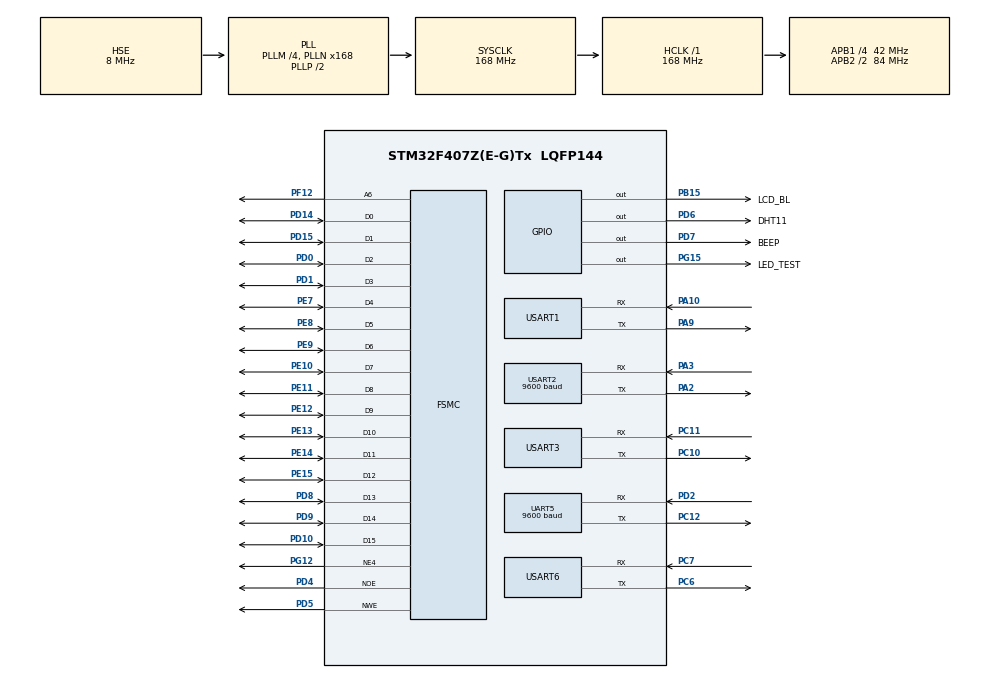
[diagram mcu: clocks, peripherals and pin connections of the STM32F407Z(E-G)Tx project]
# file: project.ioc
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FSMC.BusTurnAroundDuration1=0
FSMC.DataSetupTime1=60
FSMC.ExtendedAddressSetupTime1=8
FSMC.ExtendedBusTurnAroundDuration1=0
FSMC.ExtendedDataSetupTime1=8
FSMC.ExtendedMode1=FSMC_EXTENDED_MODE_ENABLE
Mcu.Family=STM32F4
Mcu.Name=STM32F407Z(E-G)Tx
Mcu.Package=LQFP144
NVIC.PriorityGroup=NVIC_PRIORITYGROUP_4
NVIC.UART5_IRQn=true\:0\:0\:false\:false\:true\:true\:true
NVIC.USART1_IRQn=true\:1\:0\:true\:false\:true\:true\:true
NVIC.USART2_IRQn=true\:2\:0\:true\:false\:true\:true\:true
NVIC.USART3_IRQn=true\:0\:0\:false\:false\:true\:true\:true
NVIC.USART6_IRQn=true\:1\:0\:true\:false\:true\:true\:true
PA10.Mode=Asynchronous
PA10.Signal=USART1_RX
PA13.Mode=Serial_Wire
PA13.Signal=SYS_JTMS-SWDIO
PA14.Mode=Serial_Wire
PA14.Signal=SYS_JTCK-SWCLK
PA2.Mode=Asynchronous
PA2.Signal=USART2_TX
PA3.Mode=Asynchronous
PA3.Signal=USART2_RX
PA9.Mode=Asynchronous
PA9.Signal=USART1_TX
PB15.GPIO_Label=LCD_BL
PB15.Signal=GPIO_Output
PC10.Mode=Asynchronous
PC10.Signal=USART3_TX
PC11.Mode=Asynchronous
PC11.Signal=USART3_RX
PC12.Mode=Asynchronous
PC12.Signal=UART5_TX
PC14-OSC32_IN.Mode=LSE-External-Oscillator
PC14-OSC32_IN.Signal=RCC_OSC32_IN
PC15-OSC32_OUT.Mode=LSE-External-Oscillator
PC15-OSC32_OUT.Signal=RCC_OSC32_OUT
PC6.Mode=Asynchronous
PC6.Signal=USART6_TX
PC7.Mode=Asynchronous
PC7.Signal=USART6_RX
PD0.Signal=FSMC_D2_DA2
PD1.Signal=FSMC_D3_DA3
PD10.Signal=FSMC_D15_DA15
PD14.Signal=FSMC_D0_DA0
PD15.Signal=FSMC_D1_DA1
PD2.Mode=Asynchronous
PD2.Signal=UART5_RX
PD4.Signal=FSMC_NOE
PD5.Signal=FSMC_NWE
PD6.GPIO_Label=DHT11
PD6.Signal=GPIO_Output
PD7.GPIO_Label=BEEP
PD7.PinState=GPIO_PIN_SET
PD7.Signal=GPIO_Output
PD8.Signal=FSMC_D13_DA13
PD9.Signal=FSMC_D14_DA14
PE10.Signal=FSMC_D7_DA7
PE11.Signal=FSMC_D8_DA8
PE12.Signal=FSMC_D9_DA9
PE13.Signal=FSMC_D10_DA10
PE14.Signal=FSMC_D11_DA11
PE15.Signal=FSMC_D12_DA12
PE7.Signal=FSMC_D4_DA4
PE8.Signal=FSMC_D5_DA5
PE9.Signal=FSMC_D6_DA6
PF12.Signal=FSMC_A6
PG12.Mode=NorPsramChipSelect4_1
PG12.Signal=FSMC_NE4
PG15.GPIO_Label=LED_TEST
PG15.GPIO_ModeDefaultOutputPP=GPIO_MODE_OUTPUT_PP
PG15.GPIO_PuPd=GPIO_NOPULL
PG15.GPIO_Speed=GPIO_SPEED_FREQ_LOW
PG15.PinState=GPIO_PIN_RESET
PG15.Signal=GPIO_Output
PH0-OSC_IN.Mode=HSE-External-Oscillator
PH0-OSC_IN.Signal=RCC_OSC_IN
PH1-OSC_OUT.Mode=HSE-External-Oscillator
PH1-OSC_OUT.Signal=RCC_OSC_OUT
ProjectManager.HeapSize=0x200
ProjectManager.StackSize=0x400
ProjectManager.TargetToolchain=MDK-ARM V5
RCC.48MHZClocksFreq_Value=84000000
RCC.AHBFreq_Value=168000000
RCC.APB1CLKDivider=RCC_HCLK_DIV4
RCC.APB1Freq_Value=42000000
RCC.APB1TimFreq_Value=84000000
RCC.APB2CLKDivider=RCC_HCLK_DIV2
RCC.APB2Freq_Value=84000000
RCC.APB2TimFreq_Value=168000000
RCC.CortexFreq_Value=168000000
RCC.HCLKFreq_Value=168000000
RCC.HSE_VALUE=8000000
RCC.HSI_VALUE=16000000
RCC.PLLM=4
RCC.PLLN=168
RCC.PLLSourceVirtual=RCC_PLLSOURCE_HSE
RCC.SYSCLKFreq_VALUE=168000000
RCC.SYSCLKSource=RCC_SYSCLKSOURCE_PLLCLK
RCC.VCOOutputFreq_Value=336000000
SH.FSMC_A6.0=FSMC_A6,A6_1
SH.FSMC_D0_DA0.0=FSMC_D0,16b-d1
SH.FSMC_D10_DA10.0=FSMC_D10,16b-d1
SH.FSMC_D11_DA11.0=FSMC_D11,16b-d1
SH.FSMC_D12_DA12.0=FSMC_D12,16b-d1
SH.FSMC_D13_DA13.0=FSMC_D13,16b-d1
SH.FSMC_D14_DA14.0=FSMC_D14,16b-d1
SH.FSMC_D15_DA15.0=FSMC_D15,16b-d1
SH.FSMC_D1_DA1.0=FSMC_D1,16b-d1
SH.FSMC_D2_DA2.0=FSMC_D2,16b-d1
SH.FSMC_D3_DA3.0=FSMC_D3,16b-d1
SH.FSMC_D4_DA4.0=FSMC_D4,16b-d1
SH.FSMC_D5_DA5.0=FSMC_D5,16b-d1
SH.FSMC_D6_DA6.0=FSMC_D6,16b-d1
SH.FSMC_D7_DA7.0=FSMC_D7,16b-d1
SH.FSMC_D8_DA8.0=FSMC_D8,16b-d1
SH.FSMC_D9_DA9.0=FSMC_D9,16b-d1
SH.FSMC_NOE.0=FSMC_NOE,Lcd1
SH.FSMC_NWE.0=FSMC_NWE,Lcd1
TIM1.Prescaler=83
TIM3.Period=999
TIM3.Prescaler=83
TIM4.Prescaler=83
TIM5.Prescaler=83
UART5.BaudRate=9600
UART5.VirtualMode=Asynchronous
USART1.VirtualMode=VM_ASYNC
USART2.BaudRate=9600
USART2.VirtualMode=VM_ASYNC
USART3.VirtualMode=VM_ASYNC
USART6.VirtualMode=VM_ASYNC
VP_TIM1_VS_ClockSourceINT.Mode=Internal
VP_TIM3_VS_ClockSourceINT.Mode=Internal
VP_TIM4_VS_ClockSourceINT.Mode=Internal
VP_TIM5_VS_ClockSourceINT.Mode=Internal
board=custom

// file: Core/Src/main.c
/* USER CODE BEGIN Header */
/**
  ******************************************************************************
  * @file           : main.c
  * @brief          : Main program body
  ******************************************************************************
  * @attention
  *
  * <h2><center>&copy; Copyright (c) 2022 STMicroelectronics.
  * All rights reserved.</center></h2>
  *
  * This software component is licensed by ST under BSD 3-Clause license,
  * the "License"; You may not use this file except in compliance with the
  * License. You may obtain a copy of the License at:
  *                        opensource.org/licenses/BSD-3-Clause
  *
  ******************************************************************************
  */
/* USER CODE END Header */
#include "main.h"
#include "tim.h"
#include "usart.h"
#include "gpio.h"
#include "fsmc.h"

/* USER CODE BEGIN Includes */
#include "COMMON/bsp_common.h"	//STD基本宏包
#include "COMMON/bsp_device.h"	//外设模块化宏包
/* USER CODE END Includes */

/* USER CODE BEGIN PV */

//dht11变量
DHT11_Data_TypeDef DHT11_Data;

////TCP透传数据变量
//IPD_RX ipd_rx;

//上传数据的buf变量
char PUB_BUF[256];
const char *devSubTopic[] = {"subTOPIC"};
const char 	devPubTopic[] = 	"pubTOPIC";
uint8_t ESP8266_INIT_OK = 0;//esp8266初始化完成标志

//串口5接收数据变量
uint8_t rx_buffer2[39];

//串口5接收数据变量
uint8_t rx_buffer[39];
int Body_int;						//体温整数部分
int Body_deci;					//体温小数部分
/* USER CODE END PV */

void SystemClock_Config(void);

int main(void)
{
  /* USER CODE BEGIN 1 */
	//发送间隔变量
	unsigned short timeCount = 0;
	//平台返回数据变量
	unsigned char *dataPtr = NULL;
  /* USER CODE END 1 */

  /* MCU Configuration--------------------------------------------------------*/

  /* Reset of all peripherals, Initializes the Flash interface and the Systick. */
  HAL_Init();

  /* Configure the system clock */
  SystemClock_Config();

  /* Initialize all configured peripherals */
  MX_GPIO_Init();
  MX_FSMC_Init();
  MX_TIM3_Init();
  MX_TIM5_Init();
  MX_USART6_UART_Init();
  MX_USART1_UART_Init();
  MX_TIM4_Init();
  MX_TIM1_Init();
  MX_USART2_UART_Init();
  MX_UART5_Init();
  MX_USART3_UART_Init();
  /* USER CODE BEGIN 2 */

	//1.LCD初始化部分//横屏显示
	LCD_Init();				LCD_DisplayOn();				LCD_Display_Dir(1);					user_main_info("LCD初始化成功\t[OK]\r\n");

	//2.ESP01S连接WIFI等初始化操作
	ESP8266_Init();				user_main_info("ESP01S初始化成功\t[OK]\r\n");

	//3.接入OneNET//接入ONENET成功，蜂鸣器响起提示一下
	while(OneNet_DevLink()){HAL_Delay(500);}				Beep_On;				HAL_Delay(100);				Beep_Off;				user_main_info("连接ONENET成功\t[OK]\r\n");

	//MQTT订阅话题
	OneNet_Subscribe(devSubTopic, 1);				user_main_info("订阅话题成功\t[OK]\r\n");

	//开启串口中断
	HAL_UART_Receive_IT(&huart5,(uint8_t *)rx_buffer,39);				user_main_info("串口5接收中断开启\t[OK]\r\n");

	HAL_UART_Receive_IT(&huart3,(uint8_t *)rx_buffer2,1);				user_main_info("串口3接收中断开启\t[OK]\r\n");
  /* USER CODE END 2 */

  /* Infinite loop */
  while (1)
  {

    /* USER CODE BEGIN 3 */
		HAL_UART_Receive_IT(&huart3,(uint8_t *)rx_buffer2,1);

		HAL_UART_Receive_IT(&huart5,(uint8_t *)rx_buffer,39);

		if(++timeCount >= 100)// 2500ms / 25 = 100 发送间隔2500ms
		{
			sprintf(PUB_BUF,"{\"Hum\":%d.%d,\"Temp\":%d.%d}",DHT11_Data.humi_int,DHT11_Data.humi_deci,DHT11_Data.temp_int,DHT11_Data.temp_deci);
			OneNet_Publish(devPubTopic, PUB_BUF);

			OneNet_SendData();
			timeCount = 0;
			ESP8266_Clear();
		}
		//检测平台是否有响应
		dataPtr = ESP8266_GetIPD(3);
		if(dataPtr != NULL)
		OneNet_RevPro(dataPtr);
		HAL_Delay(10);
  }
  /* USER CODE END 3 */
}

void SystemClock_Config(void)
{
  RCC_OscInitTypeDef RCC_OscInitStruct = {0};
  RCC_ClkInitTypeDef RCC_ClkInitStruct = {0};

  /** Configure the main internal regulator output voltage
  */
  __HAL_RCC_PWR_CLK_ENABLE();
  __HAL_PWR_VOLTAGESCALING_CONFIG(PWR_REGULATOR_VOLTAGE_SCALE1);
  /** Initializes the RCC Oscillators according to the specified parameters
  * in the RCC_OscInitTypeDef structure.
  */
  RCC_OscInitStruct.OscillatorType = RCC_OSCILLATORTYPE_HSE;
  RCC_OscInitStruct.HSEState = RCC_HSE_ON;
  RCC_OscInitStruct.PLL.PLLState = RCC_PLL_ON;
  RCC_OscInitStruct.PLL.PLLSource = RCC_PLLSOURCE_HSE;
  RCC_OscInitStruct.PLL.PLLM = 4;
  RCC_OscInitStruct.PLL.PLLN = 168;
  RCC_OscInitStruct.PLL.PLLP = RCC_PLLP_DIV2;
  RCC_OscInitStruct.PLL.PLLQ = 4;
  if (HAL_RCC_OscConfig(&RCC_OscInitStruct) != HAL_OK)
  {
    Error_Handler();
  }
  /** Initializes the CPU, AHB and APB buses clocks
  */
  RCC_ClkInitStruct.ClockType = RCC_CLOCKTYPE_HCLK|RCC_CLOCKTYPE_SYSCLK
                              |RCC_CLOCKTYPE_PCLK1|RCC_CLOCKTYPE_PCLK2;
  RCC_ClkInitStruct.SYSCLKSource = RCC_SYSCLKSOURCE_PLLCLK;
  RCC_ClkInitStruct.AHBCLKDivider = RCC_SYSCLK_DIV1;
  RCC_ClkInitStruct.APB1CLKDivider = RCC_HCLK_DIV4;
  RCC_ClkInitStruct.APB2CLKDivider = RCC_HCLK_DIV2;

  if (HAL_RCC_ClockConfig(&RCC_ClkInitStruct, FLASH_LATENCY_5) != HAL_OK)
  {
    Error_Handler();
  }
}

/* USER CODE BEGIN 4 */
//这里就拿来放一些外设扫描和回调函数吧

//串口接收中断回调函数
void HAL_UART_RxCpltCallback(UART_HandleTypeDef *huart)
{
	//串口5中断回调函数
	if(huart->Instance == UART5)
	{
		LCD_Clear(0xFFFF);
		char lcd_std[39];

		char *string1  = strstr((const char *)rx_buffer, "Amb");
		char *string2  = strstr((const char *)rx_buffer, "Object");
		char *string3  = strstr((const char *)rx_buffer, "Body");

		LCD_ShowString(66,66,500,24,24,(uint8_t*)string1);
		LCD_ShowString(66,106,500,24,24,(uint8_t*)string2);
		LCD_ShowString(66,146,500,24,24,(uint8_t*)string3);

		Body_int_x =  ((int)string3[5] - 48)*10+((int)string3[6]-48);
		Body_deci_x = ((int)string3[8] - 48)*10+((int)string3[9]-48);

		sprintf((char*)lcd_std,"Body TEMP : %s \r\n",&string3[5]);
		LCD_ShowString(66,206,500,24,24,(uint8_t*)lcd_std);

		//如果体温大于37.5度就串口打印警告提示字，且蜂鸣器报警
		if(Body_int>38||(Body_int>=37&&Body_deci>50))
		{
			user_main_info("%s is Warming Body TEMP\r\n",&string3[5]);
			sprintf((char*)lcd_std,"%s is Warming Body TEMP\r\n",&string3[5]);
			LCD_ShowString(66,186,500,24,24,(uint8_t*)lcd_std);
			Beep_On;				HAL_Delay(1000);				Beep_Off;
			WARMING_FLAG = 1;
		}
		for(uint8_t i=0;i<39;i++)
		{
			rx_buffer[i]=0;
		}
	}
	//串口3接收回调函数
	if(huart->Instance == USART3)
	{

		if(strcmp((char *)rx_buffer2,"6") == 0)
		{
			user_main_info("K210 face dete warming %s \t[OK]\r\n",rx_buffer2);
//			char lcd_std[39];
//			sprintf((char*)lcd_std,"Warming\r\n");
//			LCD_ShowString(66,266,500,24,24,(uint8_t*)lcd_std);
		}
		if(strcmp((char *)rx_buffer2,"1") == 0)
		{
			user_main_info("K210 face dete safe %s \t[OK]\r\n",rx_buffer2);
//			char lcd_std[39];
//			sprintf((char*)lcd_std,"Safe\r\n");
//			LCD_ShowString(66,266,500,24,24,(uint8_t*)lcd_std);
		}

		for(uint8_t i=0;i<1;i++)
		{
			rx_buffer2[i]=0;
		}
	}
}

/* USER CODE END 4 */

void Error_Handler(void)
{
  __disable_irq();
  while (1)
  {
  }
}

/************************ (C) COPYRIGHT STMicroelectronics *****END OF FILE****/
